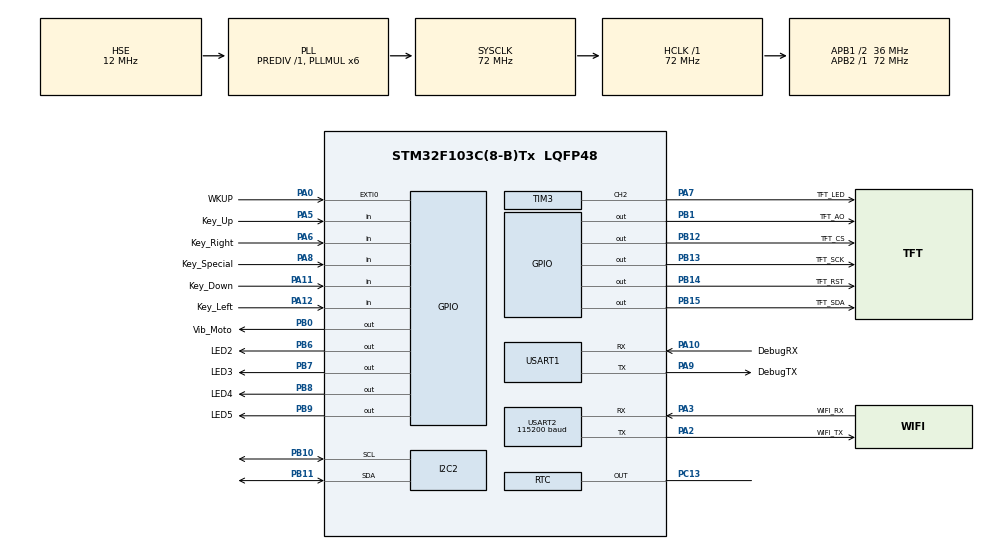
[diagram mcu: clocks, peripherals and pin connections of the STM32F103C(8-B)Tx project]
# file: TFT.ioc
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FREERTOS.Queues01=KeyQueue,10,Key_Statu_Typedef,0,Dynamic,NULL,NULL;StopQueue,1,uint8_t,0,Dynamic,NULL,NULL
FREERTOS.Tasks01=defaultTask,-2,64,StartDefaultTask,Default,NULL,Dynamic,NULL,NULL;GUITask,-1,512,StartGUITask,Default,NULL,Dynamic,NULL,NULL;KeyTask,3,128,StartKeyTask,Default,NULL,Dynamic,NULL,NULL;AlarmTask,-2,64,StartAlarmTask,Default,NULL,Dynamic,NULL,NULL;StopTask,-2,128,StartStopTask,Default,NULL,Dynamic,NULL,NULL
FREERTOS.configENABLE_BACKWARD_COMPATIBILITY=0
FREERTOS.configIDLE_SHOULD_YIELD=0
FREERTOS.configMAX_TASK_NAME_LEN=12
FREERTOS.configMINIMAL_STACK_SIZE=64
FREERTOS.configQUEUE_REGISTRY_SIZE=0
FREERTOS.configTOTAL_HEAP_SIZE=5210
FREERTOS.configUSE_MUTEXES=1
FREERTOS.configUSE_TASK_NOTIFICATIONS=0
FREERTOS.configUSE_TICKLESS_IDLE=1
Mcu.Family=STM32F1
Mcu.Name=STM32F103C(8-B)Tx
Mcu.Package=LQFP48
NVIC.EXTI0_IRQn=true\:5\:0\:false\:false\:true\:true\:true
NVIC.PriorityGroup=NVIC_PRIORITYGROUP_4
NVIC.RTC_Alarm_IRQn=true\:5\:0\:false\:true\:true\:1\:true\:true
NVIC.TIM4_IRQn=true\:0\:0\:false\:false\:true\:false\:false
NVIC.TimeBase=TIM4_IRQn
NVIC.TimeBaseIP=TIM4
PA0-WKUP.GPIO_Label=WKUP
PA0-WKUP.Signal=GPXTI0
PA10.GPIO_Label=DebugRX
PA10.Mode=Asynchronous
PA10.Signal=USART1_RX
PA11.GPIO_Label=Key_Down
PA11.GPIO_PuPd=GPIO_PULLDOWN
PA11.Signal=GPIO_Input
PA12.GPIO_Label=Key_Left
PA12.GPIO_PuPd=GPIO_PULLDOWN
PA12.Signal=GPIO_Input
PA13.Mode=Serial_Wire
PA13.Signal=SYS_JTMS-SWDIO
PA14.Mode=Serial_Wire
PA14.Signal=SYS_JTCK-SWCLK
PA2.GPIO_Label=WIFI_TX
PA2.Mode=Asynchronous
PA2.Signal=USART2_TX
PA3.GPIO_Label=WIFI_RX
PA3.Mode=Asynchronous
PA3.Signal=USART2_RX
PA5.GPIO_Label=Key_Up
PA5.GPIO_PuPd=GPIO_PULLDOWN
PA5.Signal=GPIO_Input
PA6.GPIO_Label=Key_Right
PA6.GPIO_PuPd=GPIO_PULLDOWN
PA6.Signal=GPIO_Input
PA7.GPIO_Label=TFT_LED
PA7.Signal=S_TIM3_CH2
PA8.GPIO_Label=Key_Special
PA8.GPIO_PuPd=GPIO_PULLDOWN
PA8.Signal=GPIO_Input
PA9.GPIO_Label=DebugTX
PA9.Mode=Asynchronous
PA9.Signal=USART1_TX
PB0.GPIO_Label=Vib_Moto
PB0.GPIO_Speed=GPIO_SPEED_FREQ_HIGH
PB0.Signal=GPIO_Output
PB1.GPIO_Label=TFT_AO
PB1.GPIO_Speed=GPIO_SPEED_FREQ_HIGH
PB1.Signal=GPIO_Output
PB10.Mode=I2C
PB10.Signal=I2C2_SCL
PB11.Mode=I2C
PB11.Signal=I2C2_SDA
PB12.GPIO_Label=TFT_CS
PB12.GPIO_Speed=GPIO_SPEED_FREQ_HIGH
PB12.Signal=GPIO_Output
PB13.GPIO_Label=TFT_SCK
PB13.GPIO_Speed=GPIO_SPEED_FREQ_HIGH
PB13.Signal=GPIO_Output
PB14.GPIO_Label=TFT_RST
PB14.GPIO_Speed=GPIO_SPEED_FREQ_HIGH
PB14.Signal=GPIO_Output
PB15.GPIO_Label=TFT_SDA
PB15.GPIO_Speed=GPIO_SPEED_FREQ_HIGH
PB15.Signal=GPIO_Output
PB6.GPIO_Label=LED2
PB6.GPIO_Speed=GPIO_SPEED_FREQ_HIGH
PB6.PinState=GPIO_PIN_SET
PB6.Signal=GPIO_Output
PB7.GPIO_Label=LED3
PB7.GPIO_Speed=GPIO_SPEED_FREQ_HIGH
PB7.PinState=GPIO_PIN_SET
PB7.Signal=GPIO_Output
PB8.GPIO_Label=LED4
PB8.GPIO_Speed=GPIO_SPEED_FREQ_HIGH
PB8.PinState=GPIO_PIN_SET
PB8.Signal=GPIO_Output
PB9.GPIO_Label=LED5
PB9.GPIO_Speed=GPIO_SPEED_FREQ_HIGH
PB9.PinState=GPIO_PIN_SET
PB9.Signal=GPIO_Output
PC13-TAMPER-RTC.Mode=RTC OUT
PC13-TAMPER-RTC.Signal=RTC_OUT
PD0-OSC_IN.Mode=HSE-External-Oscillator
PD0-OSC_IN.Signal=RCC_OSC_IN
PD1-OSC_OUT.Mode=HSE-External-Oscillator
PD1-OSC_OUT.Signal=RCC_OSC_OUT
ProjectManager.HeapSize=0x400
ProjectManager.StackSize=0x600
ProjectManager.TargetToolchain=MDK-ARM V5
RCC.AHBFreq_Value=72000000
RCC.APB1CLKDivider=RCC_HCLK_DIV2
RCC.APB1Freq_Value=36000000
RCC.APB1TimFreq_Value=72000000
RCC.APB2Freq_Value=72000000
RCC.APB2TimFreq_Value=72000000
RCC.HCLKFreq_Value=72000000
RCC.HSE_VALUE=12000000
RCC.PLLMUL=RCC_PLL_MUL6
RCC.PLLSourceVirtual=RCC_PLLSOURCE_HSE
RCC.PREFETCH_ENABLE=1
RCC.SYSCLKFreq_VALUE=72000000
RCC.SYSCLKSource=RCC_SYSCLKSOURCE_PLLCLK
RCC.USBFreq_Value=72000000
RTC.Date=19
RTC.Format=RTC_FORMAT_BIN
RTC.Hours=12
RTC.Hours_A-RTC\ OUT=12
RTC.Minutes=0
RTC.Minutes_A-RTC\ OUT=0
RTC.Month=RTC_MONTH_DECEMBER
RTC.Seconds=0
RTC.Seconds_A-RTC\ OUT=20
RTC.WeekDay=RTC_WEEKDAY_WEDNESDAY
RTC.Year=19
SH.S_TIM3_CH2.0=TIM3_CH2,PWM Generation2 CH2
TIM3.Channel-PWM\ Generation2\ CH2=TIM_CHANNEL_2
TIM3.Period=11
TIM3.Prescaler=72-1
TIM3.Pulse-PWM\ Generation2\ CH2=11
USART1.VirtualMode=VM_ASYNC
USART2.BaudRate=115200
USART2.VirtualMode=VM_ASYNC
VP_CRC_VS_CRC.Mode=CRC_Activate
VP_FREERTOS_VS_ENABLE.Mode=Enabled
VP_RTC_VS_RTC_Activate.Mode=RTC_Enabled
VP_RTC_VS_RTC_Calendar.Mode=RTC_Calendar
VP_SYS_VS_tim4.Mode=TIM4
VP_TIM3_VS_ClockSourceINT.Mode=Internal
board=custom

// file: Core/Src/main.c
/* USER CODE BEGIN Header */
/**
  ******************************************************************************
  * @file           : main.c
  * @brief          : Main program body
  ******************************************************************************
  ** This notice applies to any and all portions of this file
  * that are not between comment pairs USER CODE BEGIN and
  * USER CODE END. Other portions of this file, whether
  * inserted by the user or by software development tools
  * are owned by their respective copyright owners.
  *
  * COPYRIGHT(c) 2018 STMicroelectronics
  *
  * Redistribution and use in source and binary forms, with or without modification,
  * are permitted provided that the following conditions are met:
  *   1. Redistributions of source code must retain the above copyright notice,
  *      this list of conditions and the following disclaimer.
  *   2. Redistributions in binary form must reproduce the above copyright notice,
  *      this list of conditions and the following disclaimer in the documentation
  *      and/or other materials provided with the distribution.
  *   3. Neither the name of STMicroelectronics nor the names of its contributors
  *      may be used to endorse or promote products derived from this software
  *      without specific prior written permission.
  *
  * THIS SOFTWARE IS PROVIDED BY THE COPYRIGHT HOLDERS AND CONTRIBUTORS "AS IS"
  * AND ANY EXPRESS OR IMPLIED WARRANTIES, INCLUDING, BUT NOT LIMITED TO, THE
  * IMPLIED WARRANTIES OF MERCHANTABILITY AND FITNESS FOR A PARTICULAR PURPOSE ARE
  * DISCLAIMED. IN NO EVENT SHALL THE COPYRIGHT HOLDER OR CONTRIBUTORS BE LIABLE
  * FOR ANY DIRECT, INDIRECT, INCIDENTAL, SPECIAL, EXEMPLARY, OR CONSEQUENTIAL
  * DAMAGES (INCLUDING, BUT NOT LIMITED TO, PROCUREMENT OF SUBSTITUTE GOODS OR
  * SERVICES; LOSS OF USE, DATA, OR PROFITS; OR BUSINESS INTERRUPTION) HOWEVER
  * CAUSED AND ON ANY THEORY OF LIABILITY, WHETHER IN CONTRACT, STRICT LIABILITY,
  * OR TORT (INCLUDING NEGLIGENCE OR OTHERWISE) ARISING IN ANY WAY OUT OF THE USE
  * OF THIS SOFTWARE, EVEN IF ADVISED OF THE POSSIBILITY OF SUCH DAMAGE.
  *
  ******************************************************************************
  */
/* USER CODE END Header */

#include "main.h"
#include "cmsis_os.h"
#include "crc.h"
#include "i2c.h"
#include "rtc.h"
#include "tim.h"
#include "usart.h"
#include "gpio.h"

/* USER CODE BEGIN Includes */
#include "BSP_LCD.h"

#include "GUI.h"

#include "gpio.h"
#include "BSP_Key.h"
#include "BSP_LED.h"
/* USER CODE END Includes */

void SystemClock_Config(void);
void MX_FREERTOS_Init(void);
static void MX_NVIC_Init(void);

int main(void)
{

  /* MCU Configuration--------------------------------------------------------*/

  /* Reset of all peripherals, Initializes the Flash interface and the Systick. */
  HAL_Init();

  /* Configure the system clock */
  SystemClock_Config();

  /* USER CODE BEGIN SysInit */
  /* Check and handle if the system was resumed from Standby mode */
  //  if (__HAL_PWR_GET_FLAG(PWR_FLAG_SB) != RESET)
  //  {
  //    /* Clear Standby flag */
  //    __HAL_PWR_CLEAR_FLAG(PWR_FLAG_SB);
  //  }
  //		else
  //		{
  //   MX_RTC_Init();
  //		}
  //		HAL_PWR_DisableWakeUpPin(PWR_WAKEUP_PIN1);
  //  /* Clear all related wakeup flags*/
  //  __HAL_PWR_CLEAR_FLAG(PWR_FLAG_WU);
  //  /* Enable WakeUp Pin PWR_WAKEUP_PIN1 connected to PA.00 */
  //  HAL_PWR_EnableWakeUpPin(PWR_WAKEUP_PIN1);

  /* USER CODE END SysInit */

  /* Initialize all configured peripherals */
  MX_GPIO_Init();
  MX_USART2_UART_Init();
  MX_I2C2_Init();
  MX_TIM3_Init();
  MX_RTC_Init();
  MX_CRC_Init();
  MX_USART1_UART_Init();

  /* Initialize interrupts */
  MX_NVIC_Init();
  /* USER CODE BEGIN 2 */

  /*Configure GPIO pin Output Level */
  LL_GPIO_ResetOutputPin(GPIOB, LED2_Pin | LED3_Pin | LED4_Pin | LED5_Pin);

  LL_GPIO_SetOutputPin(GPIOB, LED2_Pin | LED3_Pin | LED4_Pin | LED5_Pin);

  HAL_TIM_Base_Start(&htim3);
  HAL_TIM_PWM_Start(&htim3, TIM_CHANNEL_2);

  /* Check and handle if the system was resumed from Standby mode */

  /* USER CODE END 2 */

  /* Call init function for freertos objects (in freertos.c) */
  MX_FREERTOS_Init();

  /* Start scheduler */
  osKernelStart();

  /* We should never get here as control is now taken by the scheduler */

  /* Infinite loop */
  while (1)
  {

  }
}

void SystemClock_Config(void)
{
  RCC_OscInitTypeDef RCC_OscInitStruct = {0};
  RCC_ClkInitTypeDef RCC_ClkInitStruct = {0};
  RCC_PeriphCLKInitTypeDef PeriphClkInit = {0};

  /**Initializes the CPU, AHB and APB busses clocks
  */
  RCC_OscInitStruct.OscillatorType = RCC_OSCILLATORTYPE_LSI | RCC_OSCILLATORTYPE_HSE;
  RCC_OscInitStruct.HSEState = RCC_HSE_ON;
  RCC_OscInitStruct.HSEPredivValue = RCC_HSE_PREDIV_DIV1;
  RCC_OscInitStruct.HSIState = RCC_HSI_ON;
  RCC_OscInitStruct.LSIState = RCC_LSI_ON;
  RCC_OscInitStruct.PLL.PLLState = RCC_PLL_ON;
  RCC_OscInitStruct.PLL.PLLSource = RCC_PLLSOURCE_HSE;
  RCC_OscInitStruct.PLL.PLLMUL = RCC_PLL_MUL6;
  if (HAL_RCC_OscConfig(&RCC_OscInitStruct) != HAL_OK)
  {
    Error_Handler();
  }
  /**Initializes the CPU, AHB and APB busses clocks
  */
  RCC_ClkInitStruct.ClockType = RCC_CLOCKTYPE_HCLK | RCC_CLOCKTYPE_SYSCLK | RCC_CLOCKTYPE_PCLK1 | RCC_CLOCKTYPE_PCLK2;
  RCC_ClkInitStruct.SYSCLKSource = RCC_SYSCLKSOURCE_PLLCLK;
  RCC_ClkInitStruct.AHBCLKDivider = RCC_SYSCLK_DIV1;
  RCC_ClkInitStruct.APB1CLKDivider = RCC_HCLK_DIV2;
  RCC_ClkInitStruct.APB2CLKDivider = RCC_HCLK_DIV1;

  if (HAL_RCC_ClockConfig(&RCC_ClkInitStruct, FLASH_LATENCY_2) != HAL_OK)
  {
    Error_Handler();
  }
  PeriphClkInit.PeriphClockSelection = RCC_PERIPHCLK_RTC;
  PeriphClkInit.RTCClockSelection = RCC_RTCCLKSOURCE_LSI;
  if (HAL_RCCEx_PeriphCLKConfig(&PeriphClkInit) != HAL_OK)
  {
    Error_Handler();
  }
}

/**
  * @brief NVIC Configuration.
  * @retval None
  */
static void MX_NVIC_Init(void)
{
  /* RTC_Alarm_IRQn interrupt configuration */
  HAL_NVIC_SetPriority(RTC_Alarm_IRQn, 5, 0);
  HAL_NVIC_EnableIRQ(RTC_Alarm_IRQn);
}

void HAL_TIM_PeriodElapsedCallback(TIM_HandleTypeDef *htim)
{
  if (htim->Instance == TIM4)
  {
    HAL_IncTick();
  }
}

void Error_Handler(void)
{
}

/************************ (C) COPYRIGHT STMicroelectronics *****END OF FILE****/

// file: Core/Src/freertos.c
/* USER CODE BEGIN Header */
/**
  ******************************************************************************
  * File Name          : freertos.c
  * Description        : Code for freertos applications
  ******************************************************************************
  * This notice applies to any and all portions of this file
  * that are not between comment pairs USER CODE BEGIN and
  * USER CODE END. Other portions of this file, whether
  * inserted by the user or by software development tools
  * are owned by their respective copyright owners.
  *
  * Copyright (c) 2018 STMicroelectronics International N.V.
  * All rights reserved.
  *
  * Redistribution and use in source and binary forms, with or without
  * modification, are permitted, provided that the following conditions are met:
  *
  * 1. Redistribution of source code must retain the above copyright notice,
  *    this list of conditions and the following disclaimer.
  * 2. Redistributions in binary form must reproduce the above copyright notice,
  *    this list of conditions and the following disclaimer in the documentation
  *    and/or other materials provided with the distribution.
  * 3. Neither the name of STMicroelectronics nor the names of other
  *    contributors to this software may be used to endorse or promote products
  *    derived from this software without specific written permission.
  * 4. This software, including modifications and/or derivative works of this
  *    software, must execute solely and exclusively on microcontroller or
  *    microprocessor devices manufactured by or for STMicroelectronics.
  * 5. Redistribution and use of this software other than as permitted under
  *    this license is void and will automatically terminate your rights under
  *    this license.
  *
  * THIS SOFTWARE IS PROVIDED BY STMICROELECTRONICS AND CONTRIBUTORS "AS IS"
  * AND ANY EXPRESS, IMPLIED OR STATUTORY WARRANTIES, INCLUDING, BUT NOT
  * LIMITED TO, THE IMPLIED WARRANTIES OF MERCHANTABILITY, FITNESS FOR A
  * PARTICULAR PURPOSE AND NON-INFRINGEMENT OF THIRD PARTY INTELLECTUAL PROPERTY
  * RIGHTS ARE DISCLAIMED TO THE FULLEST EXTENT PERMITTED BY LAW. IN NO EVENT
  * SHALL STMICROELECTRONICS OR CONTRIBUTORS BE LIABLE FOR ANY DIRECT, INDIRECT,
  * INCIDENTAL, SPECIAL, EXEMPLARY, OR CONSEQUENTIAL DAMAGES (INCLUDING, BUT NOT
  * LIMITED TO, PROCUREMENT OF SUBSTITUTE GOODS OR SERVICES; LOSS OF USE, DATA,
  * OR PROFITS; OR BUSINESS INTERRUPTION) HOWEVER CAUSED AND ON ANY THEORY OF
  * LIABILITY, WHETHER IN CONTRACT, STRICT LIABILITY, OR TORT (INCLUDING
  * NEGLIGENCE OR OTHERWISE) ARISING IN ANY WAY OUT OF THE USE OF THIS SOFTWARE,
  * EVEN IF ADVISED OF THE POSSIBILITY OF SUCH DAMAGE.
  *
  ******************************************************************************
  */
/* USER CODE END Header */

#include "FreeRTOS.h"
#include "task.h"
#include "main.h"
#include "cmsis_os.h"

/* USER CODE BEGIN Includes */
#include "gpio.h"
#include "rtc.h"
#include "tim.h"
#include "usart.h"
#include "crc.h"

#include "gui.h"
#include "DIALOG.h"

#include "BSP_Key.h"
#include "BSP_LED.h"

#include "BSP_SHT20.h"
/* USER CODE END Includes */

/* USER CODE BEGIN Variables */
uint8_t RTCAlarm_Flag = 0;
uint16_t LED_Speed = 100;
uint8_t WKUP_Flag = 0;

RTC_TimeTypeDef SetTime;
RTC_AlarmTypeDef SetAlarm;
/* USER CODE END Variables */
osThreadId defaultTaskHandle;
osThreadId GUITaskHandle;
osThreadId KeyTaskHandle;
osThreadId AlarmTaskHandle;
osThreadId StopTaskHandle;
osMessageQId KeyQueueHandle;
osMessageQId StopQueueHandle;

/* USER CODE BEGIN FunctionPrototypes */
void MX_NVIC_Init(void);
extern void SystemClock_Config(void);
extern WM_HWIN CreateDesktop(void);
void HSE_Init(void);
void PreStopMode(void);
void AftStopMode(void);
/* USER CODE END FunctionPrototypes */

void StartDefaultTask(void const *argument);
void StartGUITask(void const *argument);
void StartKeyTask(void const *argument);
void StartAlarmTask(void const *argument);
void StartStopTask(void const *argument);

void MX_FREERTOS_Init(void); /* (MISRA C 2004 rule 8.1) */

/* Pre/Post sleep processing prototypes */
void PreSleepProcessing(uint32_t *ulExpectedIdleTime);
void PostSleepProcessing(uint32_t *ulExpectedIdleTime);

/* USER CODE BEGIN PREPOSTSLEEP */
__weak void PreSleepProcessing(uint32_t *ulExpectedIdleTime)
{

  HAL_PWR_EnterSLEEPMode(PWR_LOWPOWERREGULATOR_ON, PWR_SLEEPENTRY_WFI); //PWR_LOWPOWERREGULATOR_ON  PWR_MAINREGULATOR_ON
  /* place for user code */
}

__weak void PostSleepProcessing(uint32_t *ulExpectedIdleTime)
{

  /* place for user code */
}
/* USER CODE END PREPOSTSLEEP */

void MX_FREERTOS_Init(void)
{

  /* USER CODE BEGIN RTOS_MUTEX */
  /* add mutexes, ... */
  //	 GUI_X_InitOS();
  /* USER CODE END RTOS_MUTEX */

  /* Create the thread(s) */
  /* definition and creation of defaultTask */
  osThreadDef(defaultTask, StartDefaultTask, osPriorityLow, 0, 64);
  defaultTaskHandle = osThreadCreate(osThread(defaultTask), NULL);

  /* definition and creation of GUITask */
  osThreadDef(GUITask, StartGUITask, osPriorityBelowNormal, 0, 512);
  GUITaskHandle = osThreadCreate(osThread(GUITask), NULL);

  /* definition and creation of KeyTask */
  osThreadDef(KeyTask, StartKeyTask, osPriorityRealtime, 0, 128);
  KeyTaskHandle = osThreadCreate(osThread(KeyTask), NULL);

  /* definition and creation of AlarmTask */
  osThreadDef(AlarmTask, StartAlarmTask, osPriorityLow, 0, 64);
  AlarmTaskHandle = osThreadCreate(osThread(AlarmTask), NULL);

  /* definition and creation of StopTask */
  osThreadDef(StopTask, StartStopTask, osPriorityLow, 0, 128);
  StopTaskHandle = osThreadCreate(osThread(StopTask), NULL);

  /* Create the queue(s) */
  /* definition and creation of KeyQueue */
  osMessageQDef(KeyQueue, 10, Key_Statu_Typedef);
  KeyQueueHandle = osMessageCreate(osMessageQ(KeyQueue), NULL);

  /* definition and creation of StopQueue */
  osMessageQDef(StopQueue, 1, uint8_t);
  StopQueueHandle = osMessageCreate(osMessageQ(StopQueue), NULL);

}

void StartDefaultTask(void const *argument)
{

  /* USER CODE BEGIN StartDefaultTask */

  /* Infinite loop */
  for (;;)
  {

    LED2_ON;
    osDelay(LED_Speed);
    LED2_OFF;

    LED3_ON;
    osDelay(LED_Speed);
    LED3_OFF;

    LED4_ON;
    osDelay(LED_Speed);
    LED4_OFF;

    LED5_ON;
    osDelay(LED_Speed);
    LED5_OFF;

    LED4_ON;
    osDelay(LED_Speed);
    LED4_OFF;

    LED3_ON;
    osDelay(LED_Speed);
    LED3_OFF;
  }
  /* USER CODE END StartDefaultTask */
}

void StartGUITask(void const *argument)
{
  /* USER CODE BEGIN StartGUITask */
  RTC_TimeTypeDef Time;
  char strTime[8];

  osEvent KeyEvent;

  GUI_Init();
  GUI_SetBkColor(GUI_BLACK);
  GUI_SetColor(GUI_GREEN);
  GUI_Clear();
  GUI_SetFont(GUI_FONT_13_ASCII);
  //	 GUI_SetFont(GUI_FONT_32_ASCII);
  //  GUI_DispStringHCenterAt( GUI_GetVersionString(),80,64 );
  //	 GUI_SetFont(GUI_FONT_13_ASCII);
  //	 GUI_DispDecAt( 0,0,0,1 );
  //	 osThreadResume(&KeyTaskHandle);
  //	 CreateMenu();

  CreateDesktop();

  //	 osThreadResume(KeyTaskHandle);
  /* Infinite loop */
  for (;;)
  {

    HAL_RTC_GetTime(&hrtc, &Time, RTC_FORMAT_BIN);

    sprintf(strTime, "%02d:%02d:%02d", Time.Hours, Time.Minutes, Time.Seconds);
    GUI_DispStringAt(strTime, 0, 0);
    sprintf(strTime, "%02.1fC %02.1f%%", Get_SHT20_TEMP(), Get_SHT20_HUM());
    GUI_DispStringAt(strTime, 85, 0);

    KeyEvent = osMessageGet(KeyQueueHandle, osWaitForever);

    if (((Key_Statu_Typedef *)KeyEvent.value.p)->Key_Special_Down_Flag == 1)
    {
      GUI_SendKeyMsg(GUI_KEY_DOWN, 1);
    }
    else
    {
      if (((Key_Statu_Typedef *)KeyEvent.value.p)->Key_Down_Flag == 1)
      {
        GUI_SendKeyMsg(GUI_KEY_TAB, 1);
      }
    }

    if (((Key_Statu_Typedef *)KeyEvent.value.p)->Key_Special_Up_Flag == 1)
    {
      GUI_SendKeyMsg(GUI_KEY_UP, 1);
    }
    else
    {
      if (((Key_Statu_Typedef *)KeyEvent.value.p)->Key_Up_Flag == 1)
      {
        GUI_SendKeyMsg(GUI_KEY_BACKTAB, 1);
      }
    }

    if (((Key_Statu_Typedef *)KeyEvent.value.p)->Key_Right_Flag == 1)
    {
      GUI_SendKeyMsg(GUI_KEY_ENTER, 1);
    }

    if (((Key_Statu_Typedef *)KeyEvent.value.p)->Key_Left_Flag == 1)
    {
      GUI_SendKeyMsg(GUI_KEY_BACKSPACE, 1);
    }

    GUI_Exec();
    osDelay(20);
  }
  /* USER CODE END StartGUITask */
}

void StartKeyTask(void const *argument)
{
  /* USER CODE BEGIN StartKeyTask */
  //	 RTC_TimeTypeDef Time;
  //	 RTC_AlarmTypeDef ATime;

  Key_Statu_Typedef Key;

  Key_init(&Key);
  //	 osThreadSuspend(NULL);
  /* Infinite loop */
  for (;;)
  {
    Scan_Key(&Key);
    if (Key.Count > 80)
    {
      if (Key.Key_Special_Flag)
      {
        Key.Key_Special_Flag = 2;
      }
      else if (Key.Key_Left_Flag)
      {
        Key.Key_Left_Flag = 2;
      }

      else if (Key.Key_Right_Flag)
      {
        Key.Key_Right_Flag = 2;
      }

      else if (Key.Key_Down_Flag)
      {
        Key.Key_Down_Flag = 2;
      }

      else if (Key.Key_Up_Flag)
      {
        Key.Key_Up_Flag = 2;
      }

      else if (Key.Key_WKUP_Flag)
      {
        Key.Key_WKUP_Flag = 2;
        osMessagePut(StopQueueHandle, (uint32_t)Key.Key_WKUP_Flag, 10);
      }
    }

    osMessagePut(KeyQueueHandle, (uint32_t)&Key, 0);
    //   GUI_DispDecAt(  Key.Key_Down_Flag  ,0,0,1);
    //			GUI_DispDecAt(  Key.Key_Left_Flag  ,10,0,1);
    osDelay(10);
  }
  /* USER CODE END StartKeyTask */
}

void StartAlarmTask(void const *argument)
{
  /* USER CODE BEGIN StartAlarmTask */

  /* Infinite loop */
  for (;;)
  {
    if (RTCAlarm_Flag == 1)
    {
      LL_GPIO_ResetOutputPin(Vib_Moto_GPIO_Port, Vib_Moto_Pin);
      osDelay(500);
      LL_GPIO_SetOutputPin(Vib_Moto_GPIO_Port, Vib_Moto_Pin);
      osDelay(500);
      LL_GPIO_ResetOutputPin(Vib_Moto_GPIO_Port, Vib_Moto_Pin);
    }
    else
    {
      osDelay(1000);
    }
  }
  /* USER CODE END StartAlarmTask */
}

void StartStopTask(void const *argument)
{
  /* USER CODE BEGIN StartStopTask */

  //	 osEvent StopEvent;
  /* Infinite loop */
  for (;;)
  {

    //			 StopEvent=osMessageGet(StopQueueHandle,1);

    if (WKUP_Flag == 1)
    {

      //					 HAL_PWR_EnableWakeUpPin(PWR_WAKEUP_PIN1);
      //					 HAL_PWR_EnterSTANDBYMode();
      //				  PreStopMode();
      HAL_TIM_PWM_Stop(&htim3, TIM_CHANNEL_2);
      HAL_PWR_EnterSTOPMode(PWR_MAINREGULATOR_ON, PWR_SLEEPENTRY_WFI);
      //					 HSE_Init();
      //					 HAL_Init();
      //					 SystemClock_Config();
      HAL_TIM_PWM_Start(&htim3, TIM_CHANNEL_2);
      //					 AftStopMode();
    }

    osDelay(500);
  }
  /* USER CODE END StartStopTask */
}

/* USER CODE BEGIN Application */
void HAL_GPIO_EXTI0Callback(RTC_HandleTypeDef *hrtc)
{
}

void HAL_RTC_AlarmAEventCallback(RTC_HandleTypeDef *hrtc)
{
  RTCAlarm_Flag = 1;
}
void HSE_Init(void)
{
  RCC_OscInitTypeDef RCC_OscInitStruct = {0};
  RCC_ClkInitTypeDef RCC_ClkInitStruct = {0};

  /**Initializes the CPU, AHB and APB busses clocks
  */
  RCC_OscInitStruct.OscillatorType = RCC_OSCILLATORTYPE_LSI | RCC_OSCILLATORTYPE_HSE;
  RCC_OscInitStruct.HSEState = RCC_HSE_ON;
  RCC_OscInitStruct.HSEPredivValue = RCC_HSE_PREDIV_DIV1;
  RCC_OscInitStruct.HSIState = RCC_HSI_ON;
  RCC_OscInitStruct.PLL.PLLState = RCC_PLL_ON;
  RCC_OscInitStruct.PLL.PLLSource = RCC_PLLSOURCE_HSE;
  RCC_OscInitStruct.PLL.PLLMUL = RCC_PLL_MUL6;
  if (HAL_RCC_OscConfig(&RCC_OscInitStruct) != HAL_OK)
  {
    Error_Handler();
  }
  RCC_ClkInitStruct.ClockType = RCC_CLOCKTYPE_HCLK | RCC_CLOCKTYPE_SYSCLK | RCC_CLOCKTYPE_PCLK1 | RCC_CLOCKTYPE_PCLK2;
  RCC_ClkInitStruct.SYSCLKSource = RCC_SYSCLKSOURCE_PLLCLK;
  RCC_ClkInitStruct.AHBCLKDivider = RCC_SYSCLK_DIV1;
  RCC_ClkInitStruct.APB1CLKDivider = RCC_HCLK_DIV2;
  RCC_ClkInitStruct.APB2CLKDivider = RCC_HCLK_DIV1;

  if (HAL_RCC_ClockConfig(&RCC_ClkInitStruct, FLASH_LATENCY_2) != HAL_OK)
  {
    Error_Handler();
  }
}
void PreStopMode(void)
{
  HAL_TIM_PWM_Stop(&htim3, TIM_CHANNEL_2);
  HAL_TIM_Base_Stop(&htim3);
  HAL_UART_DeInit(&huart1);
  HAL_UART_DeInit(&huart2);
  HAL_CRC_DeInit(&hcrc);
  HAL_TIM_Base_DeInit(&htim3);
  HAL_I2C_DeInit(&hi2c2);

  LL_GPIO_InitTypeDef GPIO_InitStruct = {0};

  /* GPIO Ports Clock Enable */
  LL_APB2_GRP1_EnableClock(LL_APB2_GRP1_PERIPH_GPIOC);
  LL_APB2_GRP1_EnableClock(LL_APB2_GRP1_PERIPH_GPIOA);
  LL_APB2_GRP1_EnableClock(LL_APB2_GRP1_PERIPH_GPIOB);

  /**/
  GPIO_InitStruct.Pin = LL_GPIO_PIN_14 | LL_GPIO_PIN_15;
  GPIO_InitStruct.Mode = LL_GPIO_MODE_ANALOG;
  LL_GPIO_Init(GPIOC, &GPIO_InitStruct);

  /**/
  GPIO_InitStruct.Pin = LL_GPIO_PIN_1 | LL_GPIO_PIN_2 | LL_GPIO_PIN_3 | LL_GPIO_PIN_4 | LL_GPIO_PIN_5 | LL_GPIO_PIN_6 | LL_GPIO_PIN_7 | LL_GPIO_PIN_8 | LL_GPIO_PIN_9 | LL_GPIO_PIN_10 | LL_GPIO_PIN_11 | LL_GPIO_PIN_12 | LL_GPIO_PIN_13 | LL_GPIO_PIN_14 | LL_GPIO_PIN_15;
  GPIO_InitStruct.Mode = LL_GPIO_MODE_ANALOG;
  LL_GPIO_Init(GPIOA, &GPIO_InitStruct);

  /**/
  GPIO_InitStruct.Pin = LL_GPIO_PIN_0 | LL_GPIO_PIN_1 | LL_GPIO_PIN_2 | LL_GPIO_PIN_10 | LL_GPIO_PIN_11 | LL_GPIO_PIN_12 | LL_GPIO_PIN_13 | LL_GPIO_PIN_14 | LL_GPIO_PIN_15 | LL_GPIO_PIN_3 | LL_GPIO_PIN_4 | LL_GPIO_PIN_5 | LL_GPIO_PIN_6 | LL_GPIO_PIN_7 | LL_GPIO_PIN_8 | LL_GPIO_PIN_9;
  GPIO_InitStruct.Mode = LL_GPIO_MODE_ANALOG;
  LL_GPIO_Init(GPIOB, &GPIO_InitStruct);

  LL_APB2_GRP1_DisableClock(LL_APB2_GRP1_PERIPH_GPIOA);
  LL_APB2_GRP1_DisableClock(LL_APB2_GRP1_PERIPH_GPIOB);
  LL_APB2_GRP1_DisableClock(LL_APB2_GRP1_PERIPH_GPIOC);

  osThreadTerminate(defaultTaskHandle);
  osThreadTerminate(GUITaskHandle);
  osThreadTerminate(KeyTaskHandle);
  osThreadTerminate(AlarmTaskHandle);

  osMessageDelete(KeyQueueHandle);
  osMessageDelete(StopQueueHandle);

  HAL_DeInit();
}

void AftStopMode(void)
{
  HAL_Init();
  SystemClock_Config();
  MX_GPIO_Init();
  MX_USART2_UART_Init();
  MX_I2C2_Init();
  MX_TIM3_Init();
  MX_RTC_Init();
  MX_CRC_Init();
  MX_USART1_UART_Init();
  //	 MX_NVIC_Init();
  HAL_TIM_Base_Start(&htim3);
  HAL_TIM_PWM_Start(&htim3, TIM_CHANNEL_2);

  //  MX_FREERTOS_Init();

  /* Start scheduler */
  //  osKernelStart();
  //		GUI_Init();
  //		GUI_SetBkColor(GUI_BLACK);
  //		GUI_SetColor(GUI_GREEN);
  //		GUI_Clear();
  //	 GUI_SetFont(GUI_FONT_13_ASCII);
  //	 CreateDesktop();
}

/* USER CODE END Application */

/************************ (C) COPYRIGHT STMicroelectronics *****END OF FILE****/
